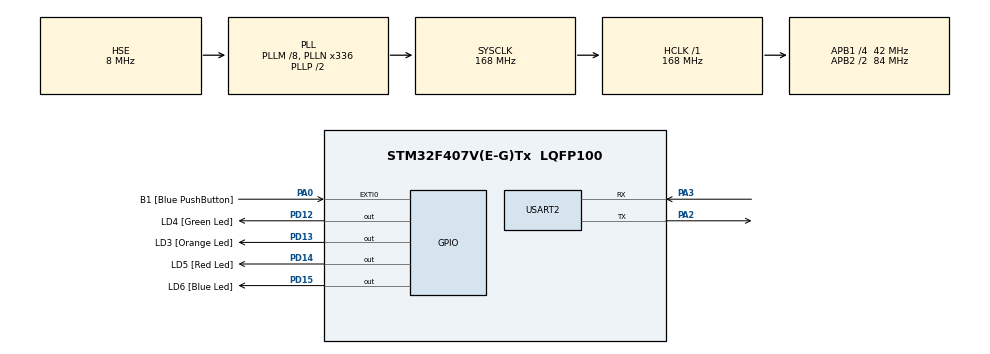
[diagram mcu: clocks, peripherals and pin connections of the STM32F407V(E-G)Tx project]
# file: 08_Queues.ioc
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FREERTOS.Tasks01=defaultTask,24,128,StartDefaultTask,Default,NULL,Dynamic,NULL,NULL
FREERTOS.configCHECK_FOR_STACK_OVERFLOW=2
FREERTOS.configTOTAL_HEAP_SIZE=32768
FREERTOS.configUSE_IDLE_HOOK=0
FREERTOS.configUSE_MALLOC_FAILED_HOOK=1
FREERTOS.configUSE_TICK_HOOK=0
FREERTOS.configUSE_TRACE_FACILITY=1
Mcu.Family=STM32F4
Mcu.Name=STM32F407V(E-G)Tx
Mcu.Package=LQFP100
NVIC.EXTI0_IRQn=true\:5\:0\:false\:false\:true\:true\:true\:true\:true
NVIC.PriorityGroup=NVIC_PRIORITYGROUP_4
NVIC.TIM6_DAC_IRQn=true\:15\:0\:false\:false\:true\:false\:false\:true\:true
NVIC.TimeBase=TIM6_DAC_IRQn
NVIC.TimeBaseIP=TIM6
PA0-WKUP.GPIO_Label=B1 [Blue PushButton]
PA0-WKUP.GPIO_ModeDefaultEXTI=GPIO_MODE_IT_RISING
PA0-WKUP.GPIO_PuPd=GPIO_NOPULL
PA0-WKUP.Signal=GPXTI0
PA13.GPIO_Label=SWDIO
PA13.Mode=Serial_Wire
PA13.Signal=SYS_JTMS-SWDIO
PA14.GPIO_Label=SWCLK
PA14.Mode=Serial_Wire
PA14.Signal=SYS_JTCK-SWCLK
PA2.Mode=Asynchronous
PA2.Signal=USART2_TX
PA3.Mode=Asynchronous
PA3.Signal=USART2_RX
PB3.GPIO_Label=SWO
PB3.Signal=SYS_JTDO-SWO
PC14-OSC32_IN.GPIO_Label=PC14-OSC32_IN
PC14-OSC32_IN.Mode=LSE-External-Oscillator
PC14-OSC32_IN.Signal=RCC_OSC32_IN
PC15-OSC32_OUT.GPIO_Label=PC15-OSC32_OUT
PC15-OSC32_OUT.Mode=LSE-External-Oscillator
PC15-OSC32_OUT.Signal=RCC_OSC32_OUT
PD12.GPIO_Label=LD4 [Green Led]
PD12.GPIO_PuPd=GPIO_NOPULL
PD12.GPIO_Speed=GPIO_SPEED_FREQ_LOW
PD12.Signal=GPIO_Output
PD13.GPIO_Label=LD3 [Orange Led]
PD13.GPIO_PuPd=GPIO_NOPULL
PD13.GPIO_Speed=GPIO_SPEED_FREQ_LOW
PD13.Signal=GPIO_Output
PD14.GPIO_Label=LD5 [Red Led]
PD14.GPIO_PuPd=GPIO_NOPULL
PD14.GPIO_Speed=GPIO_SPEED_FREQ_LOW
PD14.Signal=GPIO_Output
PD15.GPIO_Label=LD6 [Blue Led]
PD15.GPIO_PuPd=GPIO_NOPULL
PD15.GPIO_Speed=GPIO_SPEED_FREQ_LOW
PD15.Signal=GPIO_Output
PH0-OSC_IN.GPIO_Label=PH0-OSC_IN
PH0-OSC_IN.Mode=HSE-External-Oscillator
PH0-OSC_IN.Signal=RCC_OSC_IN
PH1-OSC_OUT.GPIO_Label=PH1-OSC_OUT
PH1-OSC_OUT.Mode=HSE-External-Oscillator
PH1-OSC_OUT.Signal=RCC_OSC_OUT
ProjectManager.HeapSize=0x200
ProjectManager.StackSize=0x400
ProjectManager.TargetToolchain=STM32CubeIDE
RCC.48MHZClocksFreq_Value=48000000
RCC.AHBFreq_Value=168000000
RCC.APB1CLKDivider=RCC_HCLK_DIV4
RCC.APB1Freq_Value=42000000
RCC.APB1TimFreq_Value=84000000
RCC.APB2CLKDivider=RCC_HCLK_DIV2
RCC.APB2Freq_Value=84000000
RCC.APB2TimFreq_Value=168000000
RCC.CortexFreq_Value=168000000
RCC.HCLKFreq_Value=168000000
RCC.HSE_VALUE=8000000
RCC.HSI_VALUE=16000000
RCC.PLLM=8
RCC.PLLN=336
RCC.PLLQ=7
RCC.PLLSourceVirtual=RCC_PLLSOURCE_HSE
RCC.SYSCLKFreq_VALUE=168000000
RCC.SYSCLKSource=RCC_SYSCLKSOURCE_PLLCLK
RCC.VCOOutputFreq_Value=336000000
USART2.VirtualMode=VM_ASYNC
VP_FREERTOS_VS_CMSIS_V2.Mode=CMSIS_V2
VP_SYS_VS_tim6.Mode=TIM6
board=STM32F407G-DISC1

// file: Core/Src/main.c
/* USER CODE BEGIN Header */
/**
  ******************************************************************************
  * @file           : main.c
  * @brief          : Main program body
  ******************************************************************************
  * @attention
  *
  * Copyright (c) 2026 STMicroelectronics.
  * All rights reserved.
  *
  * This software is licensed under terms that can be found in the LICENSE file
  * in the root directory of this software component.
  * If no LICENSE file comes with this software, it is provided AS-IS.
  *
  ******************************************************************************
  */
/* USER CODE END Header */
#include "main.h"

/* USER CODE BEGIN Includes */
#include "FreeRTOS.h"
#include "task.h"
#include "queue.h"
#include <stdio.h>
/* USER CODE END Includes */

UART_HandleTypeDef huart2;

/* USER CODE BEGIN PV */
QueueHandle_t dataQueue;

TaskHandle_t producerTaskHandle;
TaskHandle_t consumerTaskHandle;
/* USER CODE END PV */

void SystemClock_Config(void);
static void MX_GPIO_Init(void);
static void MX_USART2_UART_Init(void);

/* USER CODE BEGIN PFP */
static void ProducerTask(void *argument);
static void ConsumerTask(void *argument);
/* USER CODE END PFP */

int main(void)
{

  /* MCU Configuration--------------------------------------------------------*/

  /* Reset of all peripherals, Initializes the Flash interface and the Systick. */
  HAL_Init();

  /* Configure the system clock */
  SystemClock_Config();

  /* Initialize all configured peripherals */
  MX_GPIO_Init();
  MX_USART2_UART_Init();

  dataQueue = xQueueCreate(5, sizeof(uint32_t));

  if (dataQueue == NULL)
  {
      Error_Handler();
  }

  xTaskCreate(ProducerTask, "Producer", 128, NULL, 2, &producerTaskHandle);

  xTaskCreate(ConsumerTask, "Consumer", 128, NULL, 2, &consumerTaskHandle);

  vTaskStartScheduler();

  /* We should never get here as control is now taken by the scheduler */

  /* Infinite loop */
  while (1)
  {

  }
}

void SystemClock_Config(void)
{
  RCC_OscInitTypeDef RCC_OscInitStruct = {0};
  RCC_ClkInitTypeDef RCC_ClkInitStruct = {0};

  /** Configure the main internal regulator output voltage
  */
  __HAL_RCC_PWR_CLK_ENABLE();
  __HAL_PWR_VOLTAGESCALING_CONFIG(PWR_REGULATOR_VOLTAGE_SCALE1);

  /** Initializes the RCC Oscillators according to the specified parameters
  * in the RCC_OscInitTypeDef structure.
  */
  RCC_OscInitStruct.OscillatorType = RCC_OSCILLATORTYPE_HSE;
  RCC_OscInitStruct.HSEState = RCC_HSE_ON;
  RCC_OscInitStruct.PLL.PLLState = RCC_PLL_ON;
  RCC_OscInitStruct.PLL.PLLSource = RCC_PLLSOURCE_HSE;
  RCC_OscInitStruct.PLL.PLLM = 8;
  RCC_OscInitStruct.PLL.PLLN = 336;
  RCC_OscInitStruct.PLL.PLLP = RCC_PLLP_DIV2;
  RCC_OscInitStruct.PLL.PLLQ = 7;
  if (HAL_RCC_OscConfig(&RCC_OscInitStruct) != HAL_OK)
  {
    Error_Handler();
  }

  /** Initializes the CPU, AHB and APB buses clocks
  */
  RCC_ClkInitStruct.ClockType = RCC_CLOCKTYPE_HCLK|RCC_CLOCKTYPE_SYSCLK
                              |RCC_CLOCKTYPE_PCLK1|RCC_CLOCKTYPE_PCLK2;
  RCC_ClkInitStruct.SYSCLKSource = RCC_SYSCLKSOURCE_PLLCLK;
  RCC_ClkInitStruct.AHBCLKDivider = RCC_SYSCLK_DIV1;
  RCC_ClkInitStruct.APB1CLKDivider = RCC_HCLK_DIV4;
  RCC_ClkInitStruct.APB2CLKDivider = RCC_HCLK_DIV2;

  if (HAL_RCC_ClockConfig(&RCC_ClkInitStruct, FLASH_LATENCY_5) != HAL_OK)
  {
    Error_Handler();
  }
}

static void MX_USART2_UART_Init(void)
{

  huart2.Instance = USART2;
  huart2.Init.BaudRate = 115200;
  huart2.Init.WordLength = UART_WORDLENGTH_8B;
  huart2.Init.StopBits = UART_STOPBITS_1;
  huart2.Init.Parity = UART_PARITY_NONE;
  huart2.Init.Mode = UART_MODE_TX_RX;
  huart2.Init.HwFlowCtl = UART_HWCONTROL_NONE;
  huart2.Init.OverSampling = UART_OVERSAMPLING_16;
  if (HAL_UART_Init(&huart2) != HAL_OK)
  {
    Error_Handler();
  }

}

static void MX_GPIO_Init(void)
{
  GPIO_InitTypeDef GPIO_InitStruct = {0};

  /* GPIO Ports Clock Enable */
  __HAL_RCC_GPIOC_CLK_ENABLE();
  __HAL_RCC_GPIOH_CLK_ENABLE();
  __HAL_RCC_GPIOA_CLK_ENABLE();
  __HAL_RCC_GPIOD_CLK_ENABLE();
  __HAL_RCC_GPIOB_CLK_ENABLE();

  /*Configure GPIO pin Output Level */
  HAL_GPIO_WritePin(GPIOD, LD4_Pin|LD3_Pin|LD5_Pin|LD6_Pin, GPIO_PIN_RESET);

  /*Configure GPIO pin : B1_Pin */
  GPIO_InitStruct.Pin = B1_Pin;
  GPIO_InitStruct.Mode = GPIO_MODE_IT_RISING;
  GPIO_InitStruct.Pull = GPIO_NOPULL;
  HAL_GPIO_Init(B1_GPIO_Port, &GPIO_InitStruct);

  /*Configure GPIO pins : LD4_Pin LD3_Pin LD5_Pin LD6_Pin */
  GPIO_InitStruct.Pin = LD4_Pin|LD3_Pin|LD5_Pin|LD6_Pin;
  GPIO_InitStruct.Mode = GPIO_MODE_OUTPUT_PP;
  GPIO_InitStruct.Pull = GPIO_NOPULL;
  GPIO_InitStruct.Speed = GPIO_SPEED_FREQ_LOW;
  HAL_GPIO_Init(GPIOD, &GPIO_InitStruct);

  /* EXTI interrupt init*/
  HAL_NVIC_SetPriority(EXTI0_IRQn, 5, 0);
  HAL_NVIC_EnableIRQ(EXTI0_IRQn);

}

/* USER CODE BEGIN 4 */
static void ProducerTask(void *argument)
{
    uint32_t counter = 0;

    for(;;)
    {
        counter++;

        xQueueSend(dataQueue, &counter, portMAX_DELAY);

        vTaskDelay(pdMS_TO_TICKS(1000));
    }
}

static void ConsumerTask(void *argument)
{
    uint32_t receivedData;
    char msg[50];
    int len;

    for (;;)
    {
        if (xQueueReceive(dataQueue, &receivedData, portMAX_DELAY) == pdPASS)
        {
            len = snprintf(msg, sizeof(msg), "Received: %lu\r\n",receivedData);

            HAL_UART_Transmit(&huart2, (uint8_t *)msg, len, HAL_MAX_DELAY);
        }
    }
}
/* USER CODE END 4 */

void HAL_TIM_PeriodElapsedCallback(TIM_HandleTypeDef *htim)
{
  if (htim->Instance == TIM6)
  {
    HAL_IncTick();
  }
}

void Error_Handler(void)
{
  __disable_irq();
  while (1)
  {
  }
}
